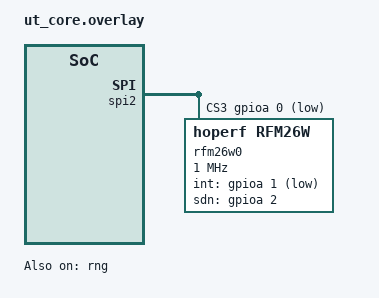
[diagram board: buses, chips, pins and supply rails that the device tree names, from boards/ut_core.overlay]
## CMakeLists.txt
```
cmake_minimum_required(VERSION 3.20.0)

set(BOARD ut_core)

# The RFM26W radio driver is an out-of-tree Zephyr module that lives in this app.
list(APPEND EXTRA_ZEPHYR_MODULES ${CMAKE_CURRENT_SOURCE_DIR}/drivers/rfm26w)

find_package(Zephyr REQUIRED HINTS $ENV{ZEPHYR_BASE})
project(comms_main)

# COMMS_MODULE_SOURCES: shared with the host tests (apps/tests/commsTest)
include(${CMAKE_CURRENT_SOURCE_DIR}/src/modules.cmake)

target_sources(app PRIVATE
    src/main.c
    ${COMMS_MODULE_SOURCES}
    ${COMMS_TARGET_ONLY_SOURCES}
    $ENV{ROOT}/common/can_proto.c)
target_include_directories(app PRIVATE ${CMAKE_CURRENT_SOURCE_DIR}/src $ENV{ROOT})

add_subdirectory($ENV{ROOT}/common ${CMAKE_BINARY_DIR}/common)
target_link_libraries(app PRIVATE common)
```

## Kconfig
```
# COMMS application options
#
# The options of the superseded firmware (self-test, dev key, radio stub, FRAM, compression stub) are gone,
# and new ones are added by the stage that uses them (see PLANNED.md):
#   stage 3: per-test switches for the MVP bench tests
#   stage 4: development key, key size

mainmenu "UT-CORE COMMS"

menu "COMMS MVP bench tests"

config COMMS_MVP_PING
	bool "PING test: answer ping requests (APID 0x0F0)"
	default y
	help
	  When off, ping requests are counted and dropped, as if the board did not know the APID.

config COMMS_MVP_CAN_CMD
	bool "CAN_CMD test: put uplinked command records on the CAN bus (APID 0x010)"
	default y
	help
	  When off, command packets are counted and dropped. Records that are on can still only get
	  through the allowlist in src/can/uplink_policy.c.

config COMMS_MVP_TLM
	bool "TLM test: send periodic telemetry (APID 0x020) and the beacon (APID 0x021)"
	default y
	help
	  When off, COMMS does not transmit telemetry or beacon packets on its own. The CAN heartbeat to
	  the other boards and the answers to uplinked commands are not affected.

endmenu

source "Kconfig.zephyr"
```

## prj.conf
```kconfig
# PLACEHOLDER: copied from CDH. COMMS hardware is still being designed; adjust as concrete data comes in.
CONFIG_GPIO=y
CONFIG_CAN=y
CONFIG_CAN_STM32_FDCAN=y

# --- LOGGING & CONSOLE SETUP (RTT) ---
CONFIG_CONSOLE=y
CONFIG_STDOUT_CONSOLE=y
CONFIG_USE_SEGGER_RTT=y
CONFIG_RTT_CONSOLE=y
CONFIG_UART_CONSOLE=n
CONFIG_SERIAL=n
CONFIG_PRINTK=y
CONFIG_LOG=y
CONFIG_LOG_MODE_IMMEDIATE=y

CONFIG_NEWLIB_LIBC=y
CONFIG_NEWLIB_LIBC_FLOAT_PRINTF=y
CONFIG_MAIN_STACK_SIZE=4096

# --- SPI for the radio (settings copied from the tested apps/tests/spiFlashTest) ---
CONFIG_SPI=y
CONFIG_SPI_STM32=y
CONFIG_CACHE_MANAGEMENT=y
CONFIG_DMA=n
CONFIG_SPI_STM32_DMA=n

# --- CRC (link layer, stage 1) ---
CONFIG_CRC=y

# --- Encryption: STAGE 4 (SDLS). Not used yet. Kept so the tested PSA settings are not lost. ---
CONFIG_MBEDTLS=y
CONFIG_MBEDTLS_PSA_CRYPTO_C=y
CONFIG_PSA_WANT_ALG_GCM=y
CONFIG_PSA_WANT_KEY_TYPE_AES=y
CONFIG_ENTROPY_GENERATOR=y

# Lets stack headroom be measured per thread
CONFIG_THREAD_STACK_INFO=y
CONFIG_INIT_STACKS=y

# --- TASK WATCHDOG (stage 3b) ---
CONFIG_TASK_WDT=y
# Hardware watchdog (IWDG) fallback stays off, as on CDH: once started, the IWDG resets the board and cannot
# be stopped, and the reset policy is not decided (stage 7).
CONFIG_TASK_WDT_HW_FALLBACK=n
```

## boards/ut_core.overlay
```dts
/* PLACEHOLDER: empty, as in CDH. COMMS hardware is still being designed; add overrides as concrete data comes in. */

/*
 * Hardware RNG for key generation / nonces (PSA Crypto).
 * HSI48 is disabled in ut_core-common.dtsi, but the RNG kernel clock
 * defaults to it, so enable it here and select it explicitly.
 * Move to the COMMS board .dts once that board exists.
 */
&clk_hsi48 {
	status = "okay";
};

&rng {
	status = "okay";
	clocks = <&rcc STM32_CLOCK(AHB2, 18)>,
		 <&rcc STM32_SRC_HSI48 RNG_SEL(0)>;
};

/*
 * [PLACEHOLDER] UHF radio node (RFM26W). The COMMS board does not exist yet. The chip select and pins below
 * are the same placeholders as apps/tests/rfm26wTest: chosen only because they are unused in ut_core.dts and
 * ut_core-common.dtsi. Replace them with the real COMMS wiring and move the node into the COMMS board
 * devicetree. Adding a fourth chip select means restating the whole cs-gpios list: the first three entries
 * are the existing FRAM chip selects from ut_core.dts.
 */
&spi2 {
	cs-gpios = <&gpiob 10 (GPIO_ACTIVE_LOW | GPIO_PULL_UP)>,
		   <&gpiob 8  (GPIO_ACTIVE_LOW | GPIO_PULL_UP)>,
		   <&gpiob 4  (GPIO_ACTIVE_LOW | GPIO_PULL_UP)>,
		   <&gpioa 0  (GPIO_ACTIVE_LOW | GPIO_PULL_UP)>; /* PLACEHOLDER: radio CS */

	rfm26w0: rfm26w@3 {
		compatible = "hoperf,rfm26w";
		reg = <3>;
		spi-max-frequency = <1000000>; /* PLACEHOLDER: the radio allows up to 10 MHz */
		int-gpios = <&gpioa 1 (GPIO_ACTIVE_LOW | GPIO_PULL_UP)>; /* PLACEHOLDER: nIRQ */
		sdn-gpios = <&gpioa 2 GPIO_ACTIVE_HIGH>;                 /* PLACEHOLDER: SDN */
		block-length = <223>;
		/*
		 * ASSUMPTION, MAY NEED ADJUSTING: 30 MHz crystal. Not confirmed for the module.
		 * If the module uses another crystal, or a TCXO (add `xo-tcxo;`), change this AND
		 * regenerate the radio profile (PLANNED.md section 5.4, "Regenerating the radio profile").
		 */
		xo-frequency-hz = <30000000>;
	};
};
```

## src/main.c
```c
/**
 * @defgroup comms COMMS
 * @ingroup apps
 * @brief Communications firmware
 *
 * @include{doc} ./apps/COMMS/README.md
 */

/**
 * @file main.c
 * @ingroup comms
 * @brief Entry point for COMMS firmware: init order, threads and queues
 *
 * UT-CORE COMMS: the satellite's link to the ground.
 *
 * Hardware: STM32U5 microcontroller, Zephyr RTOS.
 * Radio:    UHF RFM26W, driver in drivers/rfm26w, used only through ut/drivers/rfm26w.h.
 * Bus:      FDCAN to the shared CAN bus, 29-bit extended IDs (common/can_proto.h).
 *
 * This file is the front door: it says what runs, in what order and at what priority, and each
 * thread body is a few lines that move data between queues and call a module. It holds no protocol
 * logic. Parsing, framing, routing and policy live in the modules under src/ (link/, can/, and
 * app/, sec/, cfdp/ as the stages add them). Those take buffers, return codes, have no threads and
 * no globals, and are unit-tested on the host (apps/tests/commsTest). Constants are in
 * comms_config.h (protocol) and board_config.h (hardware).
 *
 * Thread overview (highest to lowest priority; the radio driver's own work queue thread, priority
 * CONFIG_RFM26W_WORKQ_PRIORITY, sits above all of these):
 *   PRIO 0  watchdog     supervises the other threads' check-ins (common/health.h) and feeds the task
 *                        watchdog. Reports only: no reset yet, see the note at watchdog_thread (stage 3b)
 *   PRIO 1  (unused)     there is no can_rx thread: the CAN driver's filters already buffer frames
 *                        into a queue (can_rx_q), which can_proc reads
 *   PRIO 2  can_proc     CAN frames: answers for ground -> downlink queue, broadcasts -> telemetry cache
 *   PRIO 4  (unused)     there is no radio_rx thread: the driver's receive callback copies each
 *                        block straight into the uplink queue (app/radio_port)
 *   PRIO 5  uplink       tc_frame -> space packet -> router by APID
 *   PRIO 6  radio_tx     sole owner of UHF transmit
 *   PRIO 8  scheduler    CAN heartbeat, telemetry, beacon, statistics log (app/scheduler). There is no
 *                        separate beacon thread: queueing a packet never waits, so the beacon is just one
 *                        more job of the lowest-priority thread
 *
 * Data flow:
 *   Uplink    radio -> receive callback -> uplink: tc_frame_parse, sp_parse -> router (by APID)
 *                -> 0x010 commands: policy -> CAN bus     -> 0x0F0 ping: reply to the TX queue
 *   Downlink  CAN replies, telemetry, beacon, ping replies -> sp_build (callsign header first) ->
 *                dl_block_pack -> radio_tx -> radio
 *   Telemetry CAN broadcasts -> can_proc -> telemetry cache -> scheduler -> TLM (0x020) and beacon (0x021)
 *
 * Init order (main): radio device check, CAN setup, radio start and configure, start receiving. The
 * threads are static and start themselves at boot; they only wait on their queues until main has run.
 *
 * Status: STAGE 3b. The uplink and downlink pipeline runs against the radio driver, answers PING
 * (0x0F0 -> 0x0F1), bridges allowlisted commands (0x010) to the CAN bus, sends the board's answer
 * down on 0x020, sends periodic telemetry and a beacon, broadcasts COMMS's CAN heartbeat, and supervises
 * its own threads. Nothing has run on hardware. Each stage adds its threads to this file and its modules
 * to src/modules.cmake.
 *
 * Docs: PROTOCOL.md (wire format), README.md (overview, architecture), PLANNED.md (stages, next
 * steps, open items).
 */

#include <zephyr/init.h>
#include <zephyr/kernel.h>
#include <zephyr/logging/log.h>
#include <zephyr/task_wdt/task_wdt.h>

#include "app/downlink.h"
#include "app/radio_port.h"
#include "app/scheduler.h"
#include "app/tlm.h"
#include "app/uplink.h"
#include "board_config.h"
#include "can/can_bridge.h"
#include "can/telemetry.h"
#include "comms_config.h"
#include "common/can_proto.h"
#include "common/health.h"

/** @cond */ /* Hidden from Doxygen, or it will mistake this as a function */
LOG_MODULE_REGISTER(comms, LOG_LEVEL_INF);
/** @endcond */

/* The block length is a protocol constant and also a property of the radio node. They must agree. */
BUILD_ASSERT(DT_PROP(RADIO_NODE, block_length) == COMMS_BLOCK_LEN,
	     "radio node block-length must equal COMMS_BLOCK_LEN in comms_config.h");

static const struct device *const can_dev = DEVICE_DT_GET(CAN_NODE);
static const struct device *const radio = DEVICE_DT_GET(RADIO_NODE);

/** Frames from the CAN driver, read by can_proc. */
K_MSGQ_DEFINE(can_rx_q, sizeof(struct can_frame), CAN_RX_Q_LEN, 4);

/** Blocks from the radio to the uplink thread, and packets from everyone to the transmit thread. */
K_MSGQ_DEFINE(uplink_q, COMMS_BLOCK_LEN, UPLINK_Q_LEN, 1);
K_MSGQ_DEFINE(tx_q, sizeof(struct dl_item), TX_Q_LEN, 4);

static struct radio_port radio_port;
static struct downlink downlink;
static struct uplink uplink;
static struct router router;
static struct can_bridge can_bridge;
static struct tlm_cache tlm_cache;
static struct tlm tlm;
static struct scheduler scheduler;

/** Next `tlm_counter` value, shared by the CAN replies and the periodic telemetry and beacon. */
static atomic_t tlm_counter;

/* ================= Thread supervision =================
 *
 * Each supervised thread checks in once per loop, so every loop waits at most a short time. The
 * supervisor (watchdog_thread) looks at the health table. The ids are made at APPLICATION init, before the
 * threads start. */
static int hb_can_proc = -1;
static int hb_uplink = -1;
static int hb_radio_tx = -1;
static int hb_sched = -1;

static int health_init(void)
{
	int err;

	hb_can_proc = health_register("can_proc", HEALTH_TIMEOUT_CAN_PROC_MS);
	hb_uplink = health_register("uplink", HEALTH_TIMEOUT_UPLINK_MS);
	hb_radio_tx = health_register("radio_tx", HEALTH_TIMEOUT_RADIO_TX_MS);
	hb_sched = health_register("scheduler", HEALTH_TIMEOUT_SCHED_MS);

	/* NULL: no hardware watchdog fallback (CONFIG_TASK_WDT_HW_FALLBACK is off), like CDH. */
	err = task_wdt_init(NULL);
	if (err) {
		LOG_ERR("task_wdt_init failed: %d", err);
	}
	return 0;
}
SYS_INIT(health_init, APPLICATION, 0);

static void uplink_thread(void *a, void *b, void *c)
{
	ARG_UNUSED(a);
	ARG_UNUSED(b);
	ARG_UNUSED(c);

	for (;;) {
		health_checkin(hb_uplink);
		(void)uplink_service_one(&uplink, K_MSEC(SERVICE_WAIT_MS));
	}
}
K_THREAD_DEFINE(uplink_tid, STACK_UPLINK, uplink_thread, NULL, NULL, NULL, PRIO_UPLINK, 0, 0);

static void radio_tx_thread(void *a, void *b, void *c)
{
	ARG_UNUSED(a);
	ARG_UNUSED(b);
	ARG_UNUSED(c);

	for (;;) {
		health_checkin(hb_radio_tx);
		(void)downlink_service_one(&downlink, K_MSEC(SERVICE_WAIT_MS));
	}
}
K_THREAD_DEFINE(radio_tx_tid, STACK_RADIO_TX, radio_tx_thread, NULL, NULL, NULL, PRIO_RADIO_TX, 0, 0);

/** Frames addressed to ground (the boards' answers) become telemetry packets. Broadcasts go to the
 *  telemetry cache, and anything else is ignored. */
static void can_proc_thread(void *a, void *b, void *c)
{
	struct can_frame frame;
	struct dl_item item;

	ARG_UNUSED(a);
	ARG_UNUSED(b);
	ARG_UNUSED(c);

	for (;;) {
		health_checkin(hb_can_proc);
		if (k_msgq_get(&can_rx_q, &frame, K_MSEC(SERVICE_WAIT_MS)) != 0) {
			continue;
		}
		if (can_bridge_on_frame(&can_bridge, &frame, &item) == 1) {
			(void)downlink_submit(&downlink, &item);
		} else {
			(void)tlm_cache_on_frame(&tlm_cache, &frame, k_uptime_get());
		}
	}
}
K_THREAD_DEFINE(can_proc_tid, STACK_CAN_PROC, can_proc_thread, NULL, NULL, NULL, PRIO_CAN_PROC, 0, 0);

static void log_stats(void)
{
	const struct uplink_stats *u = &uplink.stats;
	const struct downlink_stats *d = &downlink.stats;

	LOG_INF("alive %u s | up: blocks %u ok %u | down: sent %u err %u full %u | tlm %u beacon %u | cache %u",
		k_uptime_get_32() / 1000U, u->blocks, u->accepted, d->sent, d->send_errors, d->queue_full,
		tlm.stats.telemetry, tlm.stats.beacons, tlm_cache.stats.stored);
}

/** CAN heartbeat, telemetry, beacon, statistics. Lowest priority: what it does never waits. */
static void scheduler_thread(void *a, void *b, void *c)
{
	ARG_UNUSED(a);
	ARG_UNUSED(b);
	ARG_UNUSED(c);

	for (;;) {
		int64_t now = k_uptime_get();

		health_checkin(hb_sched);
		if (scheduler_step(&scheduler, now) & JOB_BIT(JOB_STATS)) {
			log_stats();
		}
		k_msleep(MIN(scheduler_wait_ms(&scheduler, k_uptime_get()), SERVICE_WAIT_MS));
	}
}
K_THREAD_DEFINE(scheduler_tid, STACK_SCHED, scheduler_thread, NULL, NULL, NULL, PRIO_SCHED, 0, 0);

/** Fires only if the supervisor itself stops running. Timer interrupt context: no blocking, no logging. */
static atomic_t supervisor_wdt_expiries = ATOMIC_INIT(0);

static void supervisor_wdt_expired(int channel_id, void *user_data)
{
	ARG_UNUSED(channel_id);
	ARG_UNUSED(user_data);
	atomic_inc(&supervisor_wdt_expiries);
}

/**
 * Highest priority: supervises the other threads' check-ins, as CDH does (same common/health.h).
 *
 * Each pass it feeds its own task watchdog channel, logs when a thread goes late or recovers, and counts
 * the expiries of its own channel. **It only reports.** The hardware watchdog fallback is off (like CDH, a
 * started IWDG cannot be stopped), so a hung thread is logged and nothing resets the board. The reset
 * policy, RX progress checks and the CDH backstop are stage 7. The external watchdog IC on `WATCHDOG_PIN`
 * is not kicked either, because the schematic does not exist.
 */
static void watchdog_thread(void *a, void *b, void *c)
{
	bool was_late[HEALTH_MAX_ENTRIES] = {false};
	atomic_val_t reported = 0;
	int channel = task_wdt_add(SUPERVISOR_WDT_TIMEOUT_MS, supervisor_wdt_expired, NULL);

	ARG_UNUSED(a);
	ARG_UNUSED(b);
	ARG_UNUSED(c);

	if (channel < 0) {
		LOG_ERR("task_wdt_add failed: %d", channel);
	}
	for (;;) {
		atomic_val_t expiries;

		task_wdt_feed(channel);
		for (int id = 0; id < health_count(); id++) {
			bool late = health_is_late(id);

			if (late && !was_late[id]) {
				LOG_ERR("thread %s missed its check-in: %u ms ago (limit %u ms)", health_name(id),
					health_ms_since_checkin(id), health_timeout_ms(id));
			} else if (!late && was_late[id]) {
				LOG_WRN("thread %s is checking in again", health_name(id));
			}
			was_late[id] = late;
		}
		expiries = atomic_get(&supervisor_wdt_expiries);
		if (expiries != reported) {
			LOG_ERR("supervisor task watchdog expired (%ld total)", (long)expiries);
			reported = expiries;
		}
		k_msleep(WATCHDOG_KICK_MS);
	}
}
K_THREAD_DEFINE(watchdog_tid, STACK_SIZE, watchdog_thread, NULL, NULL, NULL, PRIO_WATCHDOG, 0, 0);

int main(void)
{
	int err;

	LOG_INF("UT-CORE COMMS booting (stage 3b, see PLANNED.md)");

	radio_port_init(&radio_port, radio, &uplink_q);
	downlink_init(&downlink, &tx_q, &radio_port);
	can_bridge_init(&can_bridge, can_dev, &tlm_counter);
	router_init(&router, &can_bridge,
		    (struct mvp_switches){
			    .ping = IS_ENABLED(CONFIG_COMMS_MVP_PING),
			    .can_cmd = IS_ENABLED(CONFIG_COMMS_MVP_CAN_CMD),
			    .tlm = IS_ENABLED(CONFIG_COMMS_MVP_TLM),
		    });
	uplink_init(&uplink, &uplink_q, &downlink, &router);
	tlm_cache_init(&tlm_cache);
	tlm_init(&tlm, &tlm_cache, &tlm_counter);
	scheduler_init(&scheduler, k_uptime_get(), STATS_LOG_INTERVAL_MS, &tlm, &downlink, &can_bridge,
		       &router.sw);

	if (!device_is_ready(radio)) {
		LOG_ERR("radio device not ready");
	} else {
		const struct rfm26w_config radio_cfg = {
			.frequency_hz = COMMS_RADIO_FREQ_HZ,
			.tx_power_dbm = COMMS_RADIO_TX_DBM,
			.profile = RFM26W_PROFILE_GFSK_9K6,
		};

		err = rfm26w_start(radio);
		if (!err) {
			err = rfm26w_configure(radio, &radio_cfg);
		}
		if (!err) {
			err = radio_port_start(&radio_port);
		}
		if (err) {
			LOG_ERR("radio start failed: %d", err);
		}
	}

	err = can_setup(can_dev, NODE_ID, &can_rx_q, NULL);
	if (err) {
		LOG_ERR("CAN setup failed: %d", err);
	} else {
		/* can_setup() filters on this node and broadcast only. The boards' answers are addressed to
		 * ground. */
		err = can_bridge_add_ground_filter(can_dev, &can_rx_q);
		if (err) {
			LOG_ERR("CAN ground filter failed: %d", err);
		}
	}

	return 0;
}
```

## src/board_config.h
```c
/**
 * @file board_config.h
 * @ingroup comms
 * @brief UT-CORE COMMS: hardware configuration (devicetree nodes, pins, thread priorities, queue sizes)
 *
 * Hardware only. Protocol constants (block length, spacecraft ID, GROUND_ID, callsign) are in
 * comms_config.h.
 *
 * @warning PLACEHOLDER VALUES. The COMMS board is still being designed. The pins below were copied
 *          from the CDH board and are almost certainly wrong for COMMS. Everything marked
 *          [PLACEHOLDER] must be revisited when the schematic is final. PLANNED.md section 4 keeps the list.
 */

#pragma once

#include <zephyr/device.h>
#include <zephyr/devicetree.h>
#include <zephyr/drivers/can.h>
#include <zephyr/drivers/gpio.h>

#include "common/can_proto.h"

/* ================= Node identity ================= */

#define NODE_ID  COMMS_ID /**< This board's CAN node address (defined in can_proto.h). */
#define PRIO_LOW 3        /**< [PLACEHOLDER] Default CAN arbitration priority for outbound frames. */

/* ================= Devicetree nodes ================= */

#define CAN_NODE   DT_NODELABEL(fdcan1) /**< [PLACEHOLDER] FDCAN1, copied from CDH. */
#define RADIO_NODE DT_NODELABEL(rfm26w0) /**< The UHF radio. The node is a placeholder (see boards/ut_core.overlay). */

/* ================= GPIO pins ================= */

/** [PLACEHOLDER] copied from CDH, almost certainly wrong for COMMS. Not used until stage 3. */
#define PIN_SILENT   9  /**< CAN transceiver silent-mode control (active high). */
#define PIN_SHDN     10 /**< CAN transceiver shutdown control (active high). */
#define WATCHDOG_PIN 2  /**< Hardware watchdog kick pin. */

/* ================= Thread priorities =================
 *
 * Lower number is more urgent. The radio driver has its own work queue thread, whose priority is
 * CONFIG_RFM26W_WORKQ_PRIORITY (default 1). FIFO streaming has a deadline of a few milliseconds at the
 * higher data rates, so nothing that can hold the CPU for longer than that may run above it.
 * Only threads marked "stage 0" exist so far. See README.md for the thread table.
 */
#define PRIO_WATCHDOG 0 /**< Thread supervisor and task watchdog. Never starve it. (stage 3b) */
#define PRIO_CAN_RX   1 /**< Unused: the CAN driver's filters buffer into a queue. */
#define PRIO_CAN_PROC 2 /**< Decode and dispatch CAN frames. (stage 3a) */
#define PRIO_RADIO_RX 4 /**< Unused: the radio callback feeds the uplink queue directly. */
#define PRIO_UPLINK   5 /**< TC frame check, packet routing. (stage 2) */
#define PRIO_RADIO_TX 6 /**< Sole owner of UHF transmit. (stage 2) */
#define PRIO_SCHED    8 /**< CAN heartbeat, telemetry, beacon, statistics. (stage 3b) */

/** [PLACEHOLDER] Stack sizes. Measure with CONFIG_THREAD_STACK_INFO before trusting them. */
#define STACK_SIZE    1024
#define STACK_UPLINK  3072
#define STACK_RADIO_TX 2048
#define STACK_CAN_PROC 2048
#define STACK_SCHED    2048

/* ================= Timing ================= */

#define WATCHDOG_KICK_MS      250   /**< Supervisor pass period. Must be below half SUPERVISOR_WDT_TIMEOUT_MS. */
#define SUPERVISOR_WDT_TIMEOUT_MS 1000U /**< Task watchdog timeout of the supervisor thread itself (as CDH). */
#define STATS_LOG_INTERVAL_MS 10000 /**< How often the counters are logged. */

/** Longest a supervised thread waits on its queue, so it checks in at least this often. */
#define SERVICE_WAIT_MS 250U

/** Longest allowed gap between check-ins, per thread. radio_tx may sit in a send for up to
 *  COMMS_RADIO_SEND_TIMEOUT_MS (1 s) plus the wait. [PLACEHOLDER] until measured on the board. */
#define HEALTH_TIMEOUT_CAN_PROC_MS 1500U
#define HEALTH_TIMEOUT_UPLINK_MS   1500U
#define HEALTH_TIMEOUT_RADIO_TX_MS 4000U
#define HEALTH_TIMEOUT_SCHED_MS    1500U

/* ================= Queues ================= */

#define CAN_RX_Q_LEN 32 /**< [PLACEHOLDER] Frames waiting between the CAN driver and the processing thread. */
#define UPLINK_Q_LEN 4  /**< Blocks waiting for the uplink thread. (stage 2) */
#define TX_Q_LEN     4  /**< Blocks waiting for the transmit thread. (stage 2) */
```

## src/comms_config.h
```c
/**
 * @file comms_config.h
 * @ingroup comms
 * @brief COMMS protocol constants, and the single home of every protocol placeholder
 *
 * Wire-format limits come from PROTOCOL.md. Anything marked PLACEHOLDER is a value somebody still has to
 * decide, and is listed in PLANNED.md section 4 ("Placeholders and assumptions"). Change it here and nowhere else.
 */
#ifndef COMMS_CONFIG_H_
#define COMMS_CONFIG_H_

/* ---- Link block (PROTOCOL.md section 3) ---- */

/** Every block on the air is exactly this many bytes, both directions. Must equal the radio node's
 *  `block-length` (checked by BUILD_ASSERT in main.c). It is the data size of a Reed-Solomon (255,223)
 *  codeword, so adding Reed-Solomon later does not change it. */
#define COMMS_BLOCK_LEN 223

/** How long a send may take before the port gives up: the air time of one block is about 203 ms at
 *  9.6 kb/s, and a block already being received is waited for first (open item 22). */
#define COMMS_RADIO_SEND_TIMEOUT_MS 1000

/** PLACEHOLDER: carrier frequency, 433.92 MHz (the one the sample WDS header was made for). The bench
 *  frequency is not chosen and the module's band variant is unconfirmed (open item 18). */
#define COMMS_RADIO_FREQ_HZ 433920000U

/** PLACEHOLDER: transmit power in dBm. The bench test uses the minimum (PLANNED.md section 4). */
#define COMMS_RADIO_TX_DBM (-40)

/* ---- Uplink: TC Transfer Frame (PROTOCOL.md section 4) ---- */

#define COMMS_TC_HDR_LEN  5 /**< TC primary header. */
#define COMMS_TC_FECF_LEN 2 /**< Frame error control field (CRC-16). */

/** Largest Space Packet in a TC frame with no security (the MVP profile): 223 - 5 - 2. */
#define COMMS_UL_MAX_PACKET_CLEAR (COMMS_BLOCK_LEN - COMMS_TC_HDR_LEN - COMMS_TC_FECF_LEN)

/** PLACEHOLDER: the CCSDS-assigned spacecraft ID (10 bits). Not assigned yet (PROTOCOL.md section 4,
 *  open item 11). Any value works for bench testing as long as ground uses the same one. */
#define COMMS_TC_SCID 0x0A5

/** Virtual channel ID of the uplink (6 bits). PROTOCOL.md section 4: one channel, value 0. */
#define COMMS_TC_VCID 0

/* ---- Downlink block (PROTOCOL.md section 3) ---- */

#define COMMS_DL_LEN_FIELD 2 /**< Length of the leading `len` field. */
#define COMMS_DL_CRC_LEN   2 /**< Trailing CRC-16. */

/** Largest Space Packet in a downlink block: 223 - 2 - 2. */
#define COMMS_DL_MAX_PACKET (COMMS_BLOCK_LEN - COMMS_DL_LEN_FIELD - COMMS_DL_CRC_LEN)

/* ---- Space Packet (PROTOCOL.md section 6) ---- */

#define COMMS_SP_HDR_LEN 6 /**< Space Packet primary header. */

/** A Space Packet has at least one data field byte, so at least 7 bytes. */
#define COMMS_SP_MIN_PACKET (COMMS_SP_HDR_LEN + 1)

/* ---- Addressing (PROTOCOL.md sections 6 and 7) ---- */

/** PLACEHOLDER: CAN arbitration priority (0 = highest) that COMMS forces onto every record it puts on the
 *  bus for ground, whatever priority ground wrote, so ground cannot win arbitration over flight traffic.
 *  Same value as PRIO_LOW in board_config.h. */
#define COMMS_CAN_UPLINK_PRIO 3

/** How long a CAN send may wait for a free transmit mailbox before it is counted as an error. */
#define COMMS_CAN_SEND_TIMEOUT_MS 10

/* The ground station's CAN node ID is GROUND_ID in common/can_proto.h (0x10). Every board must accept
 * commands from that source. */


/** Amateur radio callsign of the satellite (K7UTS, given 2026-11-20) and the SSID byte. Carried in a 7-byte
 *  secondary header on every downlink packet (PROTOCOL.md section 6): 6 ASCII characters, space padded, then
 *  the SSID. The SSID is not decided, 0 for now. */
#define COMMS_CALLSIGN "K7UTS"
#define COMMS_SSID     0

/** 1 puts the callsign secondary header on every downlink packet, which shrinks the downlink data field from
 *  213 to 206 bytes (open item 3). Decided 2026-11-20: on, as PROTOCOL.md proposes, so every packet identifies
 *  the station and no separate ID timer is needed. With 0 no callsign is transmitted at all. */
#define COMMS_CALLSIGN_IN_PACKETS 1

#define COMMS_CALLSIGN_LEN 6 /**< characters in the secondary header, space padded */
#define COMMS_SEC_HDR_LEN  7 /**< callsign (6) + SSID (1) */

/** Bytes the downlink secondary header takes from the data field (0 or COMMS_SEC_HDR_LEN). */
#define COMMS_DL_SEC_HDR_LEN (COMMS_CALLSIGN_IN_PACKETS ? COMMS_SEC_HDR_LEN : 0)

/* ---- Periodic downlink (stage 3b, PROTOCOL.md sections 9 and 14) ---- */

/** PLACEHOLDER: telemetry period (PLANNED.md section 4 proposes 5 s). */
#define COMMS_TLM_PERIOD_MS 5000U

/** PLACEHOLDER: beacon period (PROTOCOL.md section 9: TBD, placeholder 60 s). Open item 3. */
#define COMMS_BEACON_PERIOD_MS 60000U

/** Heartbeat COMMS broadcasts on the CAN bus. CDH watches for it (`check_node_timeouts`). */
#define COMMS_HEARTBEAT_PERIOD_MS 1000U

/** PLACEHOLDER: a cached record older than this is not sent, so ground is never shown stale data as current.
 *  Longer than the slowest board's telemetry period, which is not known yet. */
#define COMMS_TLM_MAX_AGE_MS 60000U

/** Records in one telemetry packet: (206 - 4) / 12 = 16 with the callsign header, 17 without. */
#define COMMS_TLM_MAX_RECORDS ((COMMS_DL_MAX_PACKET - COMMS_SP_HDR_LEN - COMMS_DL_SEC_HDR_LEN - 4) / 12)

/** Records in a beacon packet (PROTOCOL.md section 9: 1 to 3). */
#define COMMS_BEACON_MAX_RECORDS 3

#endif /* COMMS_CONFIG_H_ */
```
